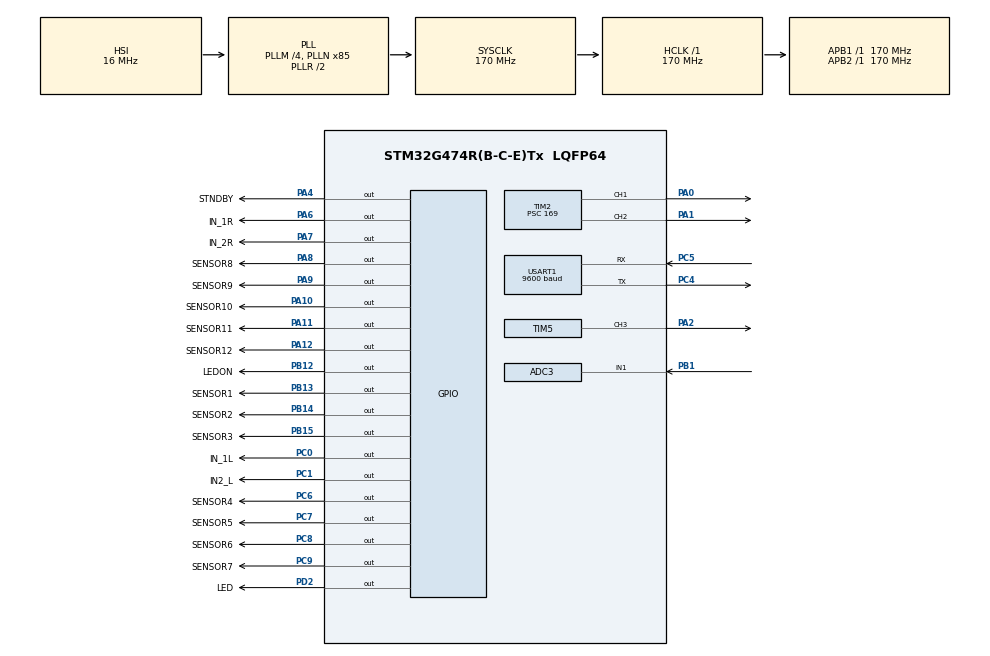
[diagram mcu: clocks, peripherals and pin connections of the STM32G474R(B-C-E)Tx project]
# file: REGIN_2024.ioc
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ADC3.Channel-0\#ChannelRegularConversion=ADC_CHANNEL_1
ADC3.ContinuousConvMode=ENABLE
ADC3.DMAContinuousRequests=ENABLE
ADC3.NbrOfConversionFlag=1
ADC3.OffsetNumber-0\#ChannelRegularConversion=ADC_OFFSET_NONE
ADC3.Rank-0\#ChannelRegularConversion=1
ADC3.SamplingTime-0\#ChannelRegularConversion=ADC_SAMPLETIME_640CYCLES_5
ADC3.master=1
Dma.ADC3.0.Direction=DMA_PERIPH_TO_MEMORY
Dma.ADC3.0.EventEnable=DISABLE
Dma.ADC3.0.Instance=DMA1_Channel1
Dma.ADC3.0.MemDataAlignment=DMA_MDATAALIGN_HALFWORD
Dma.ADC3.0.MemInc=DMA_MINC_ENABLE
Dma.ADC3.0.Mode=DMA_CIRCULAR
Dma.ADC3.0.PeriphDataAlignment=DMA_PDATAALIGN_HALFWORD
Dma.ADC3.0.PeriphInc=DMA_PINC_DISABLE
Dma.ADC3.0.Polarity=HAL_DMAMUX_REQ_GEN_RISING
Dma.ADC3.0.Priority=DMA_PRIORITY_LOW
Dma.ADC3.0.RequestNumber=1
Dma.ADC3.0.SignalID=NONE
Dma.ADC3.0.SyncEnable=DISABLE
Dma.ADC3.0.SyncPolarity=HAL_DMAMUX_SYNC_NO_EVENT
Dma.ADC3.0.SyncRequestNumber=1
Dma.ADC3.0.SyncSignalID=NONE
Dma.Request0=ADC3
Mcu.Family=STM32G4
Mcu.Name=STM32G474R(B-C-E)Tx
Mcu.Package=LQFP64
NVIC.DMA1_Channel1_IRQn=true\:0\:0\:false\:false\:true\:false\:true\:true
NVIC.PriorityGroup=NVIC_PRIORITYGROUP_4
NVIC.TIM3_IRQn=true\:0\:0\:false\:false\:true\:true\:true\:true
NVIC.USART1_IRQn=true\:0\:0\:false\:false\:true\:true\:true\:true
PA0.Signal=S_TIM2_CH1
PA1.Signal=S_TIM2_CH2
PA10.GPIO_Label=SENSOR10
PA10.Signal=GPIO_Output
PA11.GPIO_Label=SENSOR11
PA11.Signal=GPIO_Output
PA12.GPIO_Label=SENSOR12
PA12.Signal=GPIO_Output
PA13.GPIO_Label=T_SWDIO
PA13.Mode=Serial_Wire
PA13.Signal=SYS_JTMS-SWDIO
PA14.GPIO_Label=T_SWCLK
PA14.Mode=Serial_Wire
PA14.Signal=SYS_JTCK-SWCLK
PA2.Signal=S_TIM5_CH3
PA4.GPIO_Label=STNDBY
PA4.Signal=GPIO_Output
PA6.GPIO_Label=IN_1R
PA6.Signal=GPIO_Output
PA7.GPIO_Label=IN_2R
PA7.Signal=GPIO_Output
PA8.GPIO_Label=SENSOR8
PA8.Signal=GPIO_Output
PA9.GPIO_Label=SENSOR9
PA9.Signal=GPIO_Output
PB1.Mode=IN1-Single-Ended
PB1.Signal=ADC3_IN1
PB12.GPIO_Label=LEDON
PB12.Signal=GPIO_Output
PB13.GPIO_Label=SENSOR1
PB13.Signal=GPIO_Output
PB14.GPIO_Label=SENSOR2
PB14.Signal=GPIO_Output
PB15.GPIO_Label=SENSOR3
PB15.Signal=GPIO_Output
PB3.GPIO_Label=T_SWO
PB3.Signal=SYS_JTDO-SWO
PC0.GPIO_Label=IN_1L
PC0.Signal=GPIO_Output
PC1.GPIO_Label=IN2_L
PC1.Signal=GPIO_Output
PC4.Mode=Asynchronous
PC4.Signal=USART1_TX
PC5.Mode=Asynchronous
PC5.Signal=USART1_RX
PC6.GPIO_Label=SENSOR4
PC6.Signal=GPIO_Output
PC7.GPIO_Label=SENSOR5
PC7.Signal=GPIO_Output
PC8.GPIO_Label=SENSOR6
PC8.Signal=GPIO_Output
PC9.GPIO_Label=SENSOR7
PC9.Signal=GPIO_Output
PD2.GPIO_Label=LED
PD2.Signal=GPIO_Output
PF0-OSC_IN.Mode=HSE-External-Oscillator
PF0-OSC_IN.Signal=RCC_OSC_IN
PF1-OSC_OUT.Mode=HSE-External-Oscillator
PF1-OSC_OUT.Signal=RCC_OSC_OUT
ProjectManager.HeapSize=0x200
ProjectManager.StackSize=0x400
ProjectManager.TargetToolchain=STM32CubeIDE
RCC.ADC12Freq_Value=170000000
RCC.ADC345Freq_Value=170000000
RCC.AHBFreq_Value=170000000
RCC.APB1Freq_Value=170000000
RCC.APB1TimFreq_Value=170000000
RCC.APB2Freq_Value=170000000
RCC.APB2TimFreq_Value=170000000
RCC.CortexFreq_Value=170000000
RCC.EXTERNAL_CLOCK_VALUE=12288000
RCC.HCLKFreq_Value=170000000
RCC.HSE_VALUE=24000000
RCC.HSI48_VALUE=48000000
RCC.HSI_VALUE=16000000
RCC.LSE_VALUE=32768
RCC.PLLM=RCC_PLLM_DIV4
RCC.PLLN=85
RCC.RTCClockSelection=RCC_RTCCLKSOURCE_LSE
RCC.SYSCLKFreq_VALUE=170000000
RCC.SYSCLKSource=RCC_SYSCLKSOURCE_PLLCLK
RCC.USBFreq_Value=170000000
RCC.VCOOutputFreq_Value=340000000
SH.S_TIM2_CH1.0=TIM2_CH1,PWM Generation1 CH1
SH.S_TIM2_CH2.0=TIM2_CH2,PWM Generation2 CH2
SH.S_TIM5_CH3.0=TIM5_CH3,PWM Generation3 CH3
TIM2.Channel-PWM\ Generation1\ CH1=TIM_CHANNEL_1
TIM2.Channel-PWM\ Generation2\ CH2=TIM_CHANNEL_2
TIM2.PeriodNoDither=999
TIM2.Prescaler=169
TIM3.Prescaler=169
TIM5.Channel-PWM\ Generation3\ CH3=TIM_CHANNEL_3
TIM5.PeriodNoDither=999
TIM5.Prescaler=3399
USART1.BaudRate=9600
USART1.VirtualMode-Asynchronous=VM_ASYNC
VP_SYS_VS_DBSignals.Mode=DisableDeadBatterySignals
VP_TIM2_VS_ClockSourceINT.Mode=Internal
VP_TIM3_VS_ClockSourceINT.Mode=Internal
VP_TIM5_VS_ClockSourceINT.Mode=Internal
board=NUCLEO-G474RE

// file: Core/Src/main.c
/* USER CODE BEGIN Header */
/**
  ******************************************************************************
  * @file           : main.c
  * @brief          : Main program body
  ******************************************************************************
  * @attention
  *
  * Copyright (c) 2024 STMicroelectronics.
  * All rights reserved.
  *
  * This software is licensed under terms that can be found in the LICENSE file
  * in the root directory of this software component.
  * If no LICENSE file comes with this software, it is provided AS-IS.
  *
  ******************************************************************************
  */
/* USER CODE END Header */
#include "main.h"
#include "adc.h"
#include "dma.h"
#include "tim.h"
#include "usart.h"
#include "gpio.h"

/* USER CODE BEGIN Includes */
#include "stdlib.h"
#include "stdio.h"
#include "string.h"
#include "Line_Follower.h"
#include "RingBuffer.h"
#include "SimpleParser.h"
/* USER CODE END Includes */

/* USER CODE BEGIN PV */
/*Defines*/
	#define true 1;
	#define false 0;
	#define ENDLINE '\n'

	/*Motor directions*/
	#define FORWARD_L 1
	#define BACKWARD_L 0
	#define FORWARD_R 1
	#define BACKWARD_R 0

	/*Sensor*/
	#define SENSOR_SCALE 1 // sensor values multiplier -- for tests only

	LineFollower_t GRUZIK;

	uint16_t timer_counter_L;
	uint16_t timer_counter_R;

	/*Rest of PIDR regulator*/
	int Sensors_read = 0x000000000000;
	int Position;
	float Ki = 0;
	float Kr = 0;
	int P, I, D, R;
	int Last_error = 0;
	int Errors[10] = {0,0,0,0,0,0,0,0,0,0};
	int Error_sum = 0;
	int Last_end = 0;	// 0 -> Left, 1 -> Right
	int Last_idle = 0;
	float Speed_level = 1;
	int ARR = 4;
	int actives = 0;

	/*Communication*/
    char buffer[28];
    uint8_t RxData;
	RingBuffer_t RB, ReceiveBuffer;
	uint8_t ReceivedData[32];
	uint8_t ReceivedLines;

/* USER CODE END PV */

void SystemClock_Config(void);
/* USER CODE BEGIN PFP */
void PID_control();
int errors_sum (int index, int abs);
void past_errors (int error);
void forward_brake(int pos_right, int pos_left);
int QTR8_read();
void sharp_turn();
void motor_control (double pos_right, double pos_left);
void Set_Pin_Input (GPIO_TypeDef *GPIOx, uint16_t GPIO_Pin);
void Set_Pin_Output (GPIO_TypeDef *GPIOx, uint16_t GPIO_Pin);
void delay_us (uint16_t us);
/* USER CODE END PFP */

int main(void)
{

  /* MCU Configuration--------------------------------------------------------*/

  /* Reset of all peripherals, Initializes the Flash interface and the Systick. */
  HAL_Init();

  /* Configure the system clock */
  SystemClock_Config();

  /* Initialize all configured peripherals */
  MX_GPIO_Init();
  MX_DMA_Init();
  MX_ADC3_Init();
  MX_TIM2_Init();
  MX_USART1_UART_Init();
  MX_TIM3_Init();
  MX_TIM5_Init();
  /* USER CODE BEGIN 2 */
  HAL_ADC_Start_DMA(&hadc3, (uint32_t*)&GRUZIK.Adc_Value, 1);
    	/*Set initial values for PID*/
      GRUZIK.Kp = 0.02;
    	GRUZIK.Kd = 0.1;
    	GRUZIK.Speed_offset = 0.014;

    	GRUZIK.Base_speed_R = 120;
    	GRUZIK.Base_speed_L = 120;
    	GRUZIK.Max_speed_R = 120;
    	GRUZIK.Max_speed_L = 120;

    	/*Sharp turn speed*/
    	GRUZIK.Sharp_bend_speed_right=-70;
    	GRUZIK.Sharp_bend_speed_left=85;
    	GRUZIK.Bend_speed_right=-50;
    	GRUZIK.Bend_speed_left=110;

      /*Start receiving data from Blue tooth*/
      HAL_UART_Receive_IT(&huart1, &RxData, 1);

  	/*Start timers and PWM on channels*/
  	HAL_TIM_Base_Start_IT(&htim3);
  	HAL_TIM_PWM_Start(&htim2, TIM_CHANNEL_1);//left pwm
  	HAL_TIM_PWM_Start(&htim2, TIM_CHANNEL_2);//right pwm

  	//HAL_TIM_PWM_Start(&htim2, TIM_CHANNEL_3);//Turbine pwm
  	Turbine_init(&GRUZIK.turbine,&htim5, TIM_CHANNEL_3, 1000);
  	Turbine_Stop(&GRUZIK.turbine);

    /*LED diode initial set*/
    HAL_GPIO_WritePin(LED_GPIO_Port, LED_Pin, GPIO_PIN_SET);

  /* USER CODE END 2 */

  /* Infinite loop */
  while (1)
  {

    /* USER CODE BEGIN 3 */
	  PID_control();

	 	  /*If there is a message form Bluetooth Parser it*/
	 	  if(ReceivedLines > 0)
	 	  {
	 		  Parser_TakeLine(&ReceiveBuffer, ReceivedData);
	 		  Parser_Parse(ReceivedData,&GRUZIK);

	 		  ReceivedLines--;
	 	  }
  }
  /* USER CODE END 3 */
}

void SystemClock_Config(void)
{
  RCC_OscInitTypeDef RCC_OscInitStruct = {0};
  RCC_ClkInitTypeDef RCC_ClkInitStruct = {0};

  /** Configure the main internal regulator output voltage
  */
  HAL_PWREx_ControlVoltageScaling(PWR_REGULATOR_VOLTAGE_SCALE1_BOOST);

  /** Initializes the RCC Oscillators according to the specified parameters
  * in the RCC_OscInitTypeDef structure.
  */
  RCC_OscInitStruct.OscillatorType = RCC_OSCILLATORTYPE_HSI;
  RCC_OscInitStruct.HSIState = RCC_HSI_ON;
  RCC_OscInitStruct.HSICalibrationValue = RCC_HSICALIBRATION_DEFAULT;
  RCC_OscInitStruct.PLL.PLLState = RCC_PLL_ON;
  RCC_OscInitStruct.PLL.PLLSource = RCC_PLLSOURCE_HSI;
  RCC_OscInitStruct.PLL.PLLM = RCC_PLLM_DIV4;
  RCC_OscInitStruct.PLL.PLLN = 85;
  RCC_OscInitStruct.PLL.PLLP = RCC_PLLP_DIV2;
  RCC_OscInitStruct.PLL.PLLQ = RCC_PLLQ_DIV2;
  RCC_OscInitStruct.PLL.PLLR = RCC_PLLR_DIV2;
  if (HAL_RCC_OscConfig(&RCC_OscInitStruct) != HAL_OK)
  {
    Error_Handler();
  }

  /** Initializes the CPU, AHB and APB buses clocks
  */
  RCC_ClkInitStruct.ClockType = RCC_CLOCKTYPE_HCLK|RCC_CLOCKTYPE_SYSCLK
                              |RCC_CLOCKTYPE_PCLK1|RCC_CLOCKTYPE_PCLK2;
  RCC_ClkInitStruct.SYSCLKSource = RCC_SYSCLKSOURCE_PLLCLK;
  RCC_ClkInitStruct.AHBCLKDivider = RCC_SYSCLK_DIV1;
  RCC_ClkInitStruct.APB1CLKDivider = RCC_HCLK_DIV1;
  RCC_ClkInitStruct.APB2CLKDivider = RCC_HCLK_DIV1;

  if (HAL_RCC_ClockConfig(&RCC_ClkInitStruct, FLASH_LATENCY_4) != HAL_OK)
  {
    Error_Handler();
  }
}

/* USER CODE BEGIN 4 */
/*Interrupts*/
void HAL_UART_RxCpltCallback(UART_HandleTypeDef *huart)
{
	if(huart->Instance == USART1)
	{
		if(RB_Write(&ReceiveBuffer, RxData) == RB_OK)
		{
			if(RxData == ENDLINE)
			{
				ReceivedLines++;
			}
		}
    	HAL_UART_Receive_IT(&huart1,&RxData, 1);
	}
}
/*Functions*/
void delay_us (uint16_t us) //Blocking function
{
	__HAL_TIM_SET_COUNTER(&htim3,0);  // set the counter value a 0
	while (__HAL_TIM_GET_COUNTER(&htim3) < us);  // wait for the counter to reach the us input in the parameter
}

void Set_Pin_Output (GPIO_TypeDef *GPIOx, uint16_t GPIO_Pin)
{
	GPIO_InitTypeDef GPIO_InitStruct = {0};
	GPIO_InitStruct.Pin = GPIO_Pin;
	GPIO_InitStruct.Mode = GPIO_MODE_OUTPUT_PP;
	GPIO_InitStruct.Speed = GPIO_SPEED_FREQ_LOW;
	HAL_GPIO_Init(GPIOx, &GPIO_InitStruct);
}

void Set_Pin_Input (GPIO_TypeDef *GPIOx, uint16_t GPIO_Pin)
{
	GPIO_InitTypeDef GPIO_InitStruct = {0};
	GPIO_InitStruct.Pin = GPIO_Pin;
	GPIO_InitStruct.Mode = GPIO_MODE_INPUT;
	GPIO_InitStruct.Pull = GPIO_PULLUP;
	HAL_GPIO_Init(GPIOx, &GPIO_InitStruct);
}

void motor_control (double pos_right, double pos_left)

{
	if (pos_left < 0 )
	{
		__HAL_TIM_SET_COMPARE (&htim2, TIM_CHANNEL_1, (uint32_t)((ARR*pos_left*-1) * GRUZIK.Speed_level));//PWM_L
		HAL_GPIO_WritePin(IN_1L_GPIO_Port, IN_1L_Pin, GPIO_PIN_RESET);
		HAL_GPIO_WritePin(IN2_L_GPIO_Port, IN2_L_Pin, GPIO_PIN_RESET);

	}
	else
	{
		__HAL_TIM_SET_COMPARE (&htim2, TIM_CHANNEL_1, (uint32_t)((ARR*pos_left) * GRUZIK.Speed_level));//PWM_L
		HAL_GPIO_WritePin(IN_1L_GPIO_Port, IN_1L_Pin, GPIO_PIN_SET);
		HAL_GPIO_WritePin(IN2_L_GPIO_Port, IN2_L_Pin, GPIO_PIN_RESET);

	}
	if (pos_right < 0 )
	{
		__HAL_TIM_SET_COMPARE (&htim2, TIM_CHANNEL_2, (uint32_t)((ARR*pos_right* -1) * GRUZIK.Speed_level));//PWM_R
		HAL_GPIO_WritePin(IN_1R_GPIO_Port, IN_1R_Pin, GPIO_PIN_SET);
		HAL_GPIO_WritePin(IN_1R_GPIO_Port, IN_1R_Pin, GPIO_PIN_RESET);
	}
	else
	{
		__HAL_TIM_SET_COMPARE (&htim2, TIM_CHANNEL_2, (uint32_t)((ARR*pos_right) * GRUZIK.Speed_level));//PWM_R
		HAL_GPIO_WritePin(IN_1R_GPIO_Port, IN_1R_Pin, GPIO_PIN_RESET);
		HAL_GPIO_WritePin(IN_1R_GPIO_Port, IN_1R_Pin, GPIO_PIN_SET);
	}
}

void sharp_turn ()
{

	if (Last_idle < 25)
	{
		if (Last_end == 1)
			motor_control(GRUZIK.Sharp_bend_speed_right, GRUZIK.Sharp_bend_speed_left);
		else
			motor_control(GRUZIK.Sharp_bend_speed_left, GRUZIK.Sharp_bend_speed_right);
	}
	else
	{
		if (Last_end == 1)
			motor_control(GRUZIK.Bend_speed_right, GRUZIK.Bend_speed_left);
		else
			motor_control(GRUZIK.Bend_speed_left, GRUZIK.Bend_speed_right);
	}
}
int QTR8_read ()
{
	HAL_GPIO_WritePin(LEDON_GPIO_Port, LEDON_Pin, 1);

	Set_Pin_Output(SENSOR1_GPIO_Port, SENSOR1_Pin);
	Set_Pin_Output(SENSOR2_GPIO_Port, SENSOR2_Pin);
	Set_Pin_Output(SENSOR3_GPIO_Port, SENSOR3_Pin);
	Set_Pin_Output(SENSOR4_GPIO_Port, SENSOR4_Pin);
	Set_Pin_Output(SENSOR5_GPIO_Port, SENSOR5_Pin);
	Set_Pin_Output(SENSOR6_GPIO_Port, SENSOR6_Pin);
	Set_Pin_Output(SENSOR7_GPIO_Port, SENSOR7_Pin);
	Set_Pin_Output(SENSOR8_GPIO_Port, SENSOR8_Pin);
	Set_Pin_Output(SENSOR9_GPIO_Port, SENSOR9_Pin);
	Set_Pin_Output(SENSOR10_GPIO_Port, SENSOR10_Pin);
	Set_Pin_Output(SENSOR11_GPIO_Port, SENSOR11_Pin);
	Set_Pin_Output(SENSOR12_GPIO_Port, SENSOR12_Pin);

	HAL_GPIO_WritePin (SENSOR1_GPIO_Port, SENSOR1_Pin, 1);
	HAL_GPIO_WritePin (SENSOR2_GPIO_Port, SENSOR2_Pin, 1);
	HAL_GPIO_WritePin (SENSOR3_GPIO_Port, SENSOR3_Pin, 1);
	HAL_GPIO_WritePin (SENSOR4_GPIO_Port, SENSOR4_Pin, 1);
	HAL_GPIO_WritePin (SENSOR5_GPIO_Port, SENSOR5_Pin, 1);
	HAL_GPIO_WritePin (SENSOR6_GPIO_Port, SENSOR6_Pin, 1);
	HAL_GPIO_WritePin (SENSOR7_GPIO_Port, SENSOR7_Pin, 1);
	HAL_GPIO_WritePin (SENSOR8_GPIO_Port, SENSOR8_Pin, 1);
	HAL_GPIO_WritePin (SENSOR9_GPIO_Port, SENSOR9_Pin, 1);
	HAL_GPIO_WritePin (SENSOR10_GPIO_Port, SENSOR10_Pin, 1);
	HAL_GPIO_WritePin (SENSOR11_GPIO_Port, SENSOR11_Pin, 1);
	HAL_GPIO_WritePin (SENSOR12_GPIO_Port, SENSOR12_Pin, 1);

	delay_us(10);

	Set_Pin_Input(SENSOR1_GPIO_Port, SENSOR1_Pin);
	Set_Pin_Input(SENSOR2_GPIO_Port, SENSOR2_Pin);
	Set_Pin_Input(SENSOR3_GPIO_Port, SENSOR3_Pin);
	Set_Pin_Input(SENSOR4_GPIO_Port, SENSOR4_Pin);
	Set_Pin_Input(SENSOR5_GPIO_Port, SENSOR5_Pin);
	Set_Pin_Input(SENSOR6_GPIO_Port, SENSOR6_Pin);
	Set_Pin_Input(SENSOR7_GPIO_Port, SENSOR7_Pin);
	Set_Pin_Input(SENSOR8_GPIO_Port, SENSOR8_Pin);
	Set_Pin_Input(SENSOR9_GPIO_Port, SENSOR9_Pin);
	Set_Pin_Input(SENSOR10_GPIO_Port, SENSOR10_Pin);
	Set_Pin_Input(SENSOR11_GPIO_Port, SENSOR11_Pin);
	Set_Pin_Input(SENSOR12_GPIO_Port, SENSOR12_Pin);

	// Threshold
	 delay_us(4500);
	 	 	 //!!! FOR SENSOR TESTING ONLY !!!//

	 uint8_t sensory[12];
	 sensory[0] = HAL_GPIO_ReadPin(SENSOR1_GPIO_Port, SENSOR1_Pin);
	 sensory[1] = HAL_GPIO_ReadPin(SENSOR2_GPIO_Port, SENSOR2_Pin);
	 sensory[2] = HAL_GPIO_ReadPin(SENSOR3_GPIO_Port, SENSOR3_Pin);
	 sensory[3] = HAL_GPIO_ReadPin(SENSOR4_GPIO_Port, SENSOR4_Pin);
	 sensory[4] = HAL_GPIO_ReadPin(SENSOR5_GPIO_Port, SENSOR5_Pin);
	 sensory[5] = HAL_GPIO_ReadPin(SENSOR6_GPIO_Port, SENSOR6_Pin);
	 sensory[6] = HAL_GPIO_ReadPin(SENSOR7_GPIO_Port, SENSOR7_Pin);
	 sensory[7] = HAL_GPIO_ReadPin(SENSOR8_GPIO_Port, SENSOR8_Pin);
	 sensory[8] = HAL_GPIO_ReadPin(SENSOR9_GPIO_Port, SENSOR9_Pin);
	 sensory[9] = HAL_GPIO_ReadPin(SENSOR10_GPIO_Port, SENSOR10_Pin);
	 sensory[10] = HAL_GPIO_ReadPin(SENSOR11_GPIO_Port, SENSOR11_Pin);
	 sensory[11] = HAL_GPIO_ReadPin(SENSOR12_GPIO_Port, SENSOR12_Pin);
	 uint8_t Message[124];
	 sprintf((char*)Message,"S1: %d S2: %d S3: %d S4: %d S5: %d S6: %d S7: %d S8: %d S9: %d S10: %d S11: %d S12: %d \n\r", sensory[0],sensory[1],sensory[2],sensory[3],sensory[4],sensory[5],sensory[6],sensory[7],
			 sensory[8],sensory[9],sensory[10],sensory[11]);
	 HAL_UART_Transmit(&huart1, Message, strlen((char*)Message), 100);

	Sensors_read = 0x00000000;
	int pos = 0;
  int active = 0;

	if (HAL_GPIO_ReadPin(SENSOR1_GPIO_Port, SENSOR1_Pin)) { // LEFT SIDE
		Sensors_read |= 0x000000000001;
		pos += 1000 * SENSOR_SCALE;//1000
    active++;
		Last_end = 1;
	}
	if (HAL_GPIO_ReadPin(SENSOR2_GPIO_Port, SENSOR2_Pin)) {
		Sensors_read |= 0x000000000010;
		pos += 2000 * SENSOR_SCALE;//2000
    active++;
    	//Last_end = 1;//1
  }
	if (HAL_GPIO_ReadPin(SENSOR3_GPIO_Port, SENSOR3_Pin)) {
		Sensors_read |= 0x000000000100;
		pos += 3000 * SENSOR_SCALE;//3000
    active++;
    	//Last_end = 1;//1
  }
	if (HAL_GPIO_ReadPin(SENSOR4_GPIO_Port, SENSOR4_Pin)) {
		Sensors_read |= 0x000000001000;
		pos += 4000 * SENSOR_SCALE;//4000
    active++;
  }
	if (HAL_GPIO_ReadPin(SENSOR5_GPIO_Port, SENSOR5_Pin)) {
		Sensors_read |= 0x000000010000;
		pos += 5000 * SENSOR_SCALE;//5000
    active++;
  }
	if (HAL_GPIO_ReadPin(SENSOR6_GPIO_Port, SENSOR6_Pin)) {
		Sensors_read |= 0x000000100000;
		pos += 6000 * SENSOR_SCALE;//6000
    active++;
  }
	if (HAL_GPIO_ReadPin(SENSOR7_GPIO_Port, SENSOR7_Pin)) {
		Sensors_read |= 0x000001000000;
		pos += 7000 * SENSOR_SCALE;//7000
    active++;
  }
	if (HAL_GPIO_ReadPin(SENSOR8_GPIO_Port, SENSOR8_Pin)) {
		Sensors_read |= 0x000010000000;
		pos += 8000 * SENSOR_SCALE;//8000
    active++;
  }
  if (HAL_GPIO_ReadPin(SENSOR9_GPIO_Port, SENSOR9_Pin)) {
	   Sensors_read |= 0x000100000000;
	   pos += 9000 * SENSOR_SCALE;//8000
	active++;

  }
  if (HAL_GPIO_ReadPin(SENSOR10_GPIO_Port, SENSOR10_Pin)) {
	   Sensors_read |= 0x001000000000;
	   pos += 10000 * SENSOR_SCALE;//8000
    active++;
	  // Last_end = 0;//0
  }
  if (HAL_GPIO_ReadPin(SENSOR11_GPIO_Port, SENSOR11_Pin)) {
	   Sensors_read |= 0x010000000000;
	   pos += 11000 * SENSOR_SCALE;//8000
    active++;
	  // Last_end = 0;//0
  }
  if (HAL_GPIO_ReadPin(SENSOR12_GPIO_Port, SENSOR12_Pin)) { // RIGH SIDE
	   Sensors_read |= 0x100000000000;
	   pos += 12000 * SENSOR_SCALE;//8000
    active++;
	   Last_end = 0;
  }

  HAL_GPIO_WritePin(LEDON_GPIO_Port, LEDON_Pin, 0);

  actives = active;
	Position = pos/active;

	if (actives == 0)
		Last_idle++;
	else
		Last_idle = 0;

	return pos/active;
}

void forward_brake(int pos_right, int pos_left)
{
	if (actives == 0)
		sharp_turn();
	else
	  motor_control(pos_right, pos_left);
}

void past_errors (int error)
{
  for (int i = 9; i > 0; i--)
      Errors[i] = Errors[i-1];
  Errors[0] = error;
}

int errors_sum (int index, int abs)
{
  int sum = 0;
  for (int i = 0; i < index; i++)
  {
    if (abs == 1 && Errors[i] < 0)
      sum += -Errors[i];
    else
      sum += Errors[i];
  }
  return sum;
}

void PID_control()
{
  uint16_t position = QTR8_read();
  int error = (6500 * SENSOR_SCALE) - position;
  past_errors(error);

  P = error;
  I = errors_sum(5, 0);
  D = error - Last_error;
  R = errors_sum(5, 1);
  Last_error = error;

  int motorspeed = P*GRUZIK.Kp + I*Ki + D*GRUZIK.Kd;

  int motorspeedl = GRUZIK.Base_speed_L + motorspeed - R*Kr;
  int motorspeedr = GRUZIK.Base_speed_R - motorspeed - R*Kr;

  if (motorspeedl > GRUZIK.Max_speed_L)
    motorspeedl = GRUZIK.Max_speed_L;
  if (motorspeedr > GRUZIK.Max_speed_R)
    motorspeedr = GRUZIK.Max_speed_R;

	forward_brake(motorspeedr, motorspeedl);
}
/* USER CODE END 4 */

void Error_Handler(void)
{
  __disable_irq();
  while (1)
  {
  }
}
